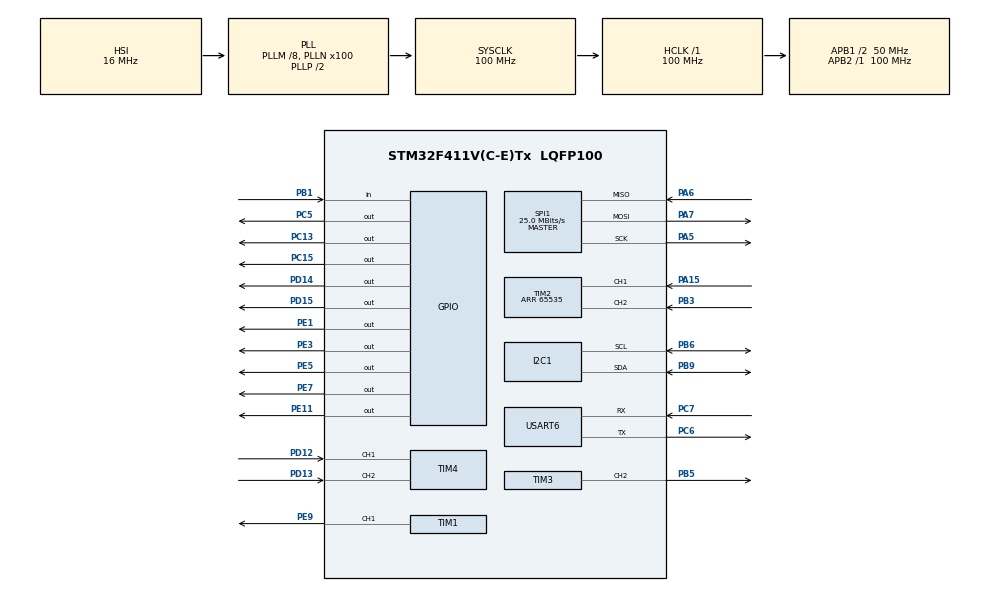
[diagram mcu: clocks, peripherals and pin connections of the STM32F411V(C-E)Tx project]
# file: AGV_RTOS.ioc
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Dma.Request0=USART6_RX
Dma.Request1=USART6_TX
Dma.USART6_RX.0.Direction=DMA_PERIPH_TO_MEMORY
Dma.USART6_RX.0.FIFOMode=DMA_FIFOMODE_DISABLE
Dma.USART6_RX.0.Instance=DMA2_Stream1
Dma.USART6_RX.0.MemDataAlignment=DMA_MDATAALIGN_BYTE
Dma.USART6_RX.0.MemInc=DMA_MINC_ENABLE
Dma.USART6_RX.0.Mode=DMA_CIRCULAR
Dma.USART6_RX.0.PeriphDataAlignment=DMA_PDATAALIGN_BYTE
Dma.USART6_RX.0.PeriphInc=DMA_PINC_DISABLE
Dma.USART6_RX.0.Priority=DMA_PRIORITY_VERY_HIGH
Dma.USART6_TX.1.Direction=DMA_MEMORY_TO_PERIPH
Dma.USART6_TX.1.FIFOMode=DMA_FIFOMODE_DISABLE
Dma.USART6_TX.1.Instance=DMA2_Stream6
Dma.USART6_TX.1.MemDataAlignment=DMA_MDATAALIGN_BYTE
Dma.USART6_TX.1.MemInc=DMA_MINC_ENABLE
Dma.USART6_TX.1.Mode=DMA_NORMAL
Dma.USART6_TX.1.PeriphDataAlignment=DMA_PDATAALIGN_BYTE
Dma.USART6_TX.1.PeriphInc=DMA_PINC_DISABLE
Dma.USART6_TX.1.Priority=DMA_PRIORITY_VERY_HIGH
FREERTOS.Tasks01=MCU_POSE,47,3000,odom_getter,Default,NULL,Static,defaultTaskBuffer,defaultTaskControlBlock;MCU_VEL,48,3000,vel_setter,Default,NULL,Static,MCU_VELBuffer,MCU_VELControlBlock
Mcu.Family=STM32F4
Mcu.Name=STM32F411V(C-E)Tx
Mcu.Package=LQFP100
NVIC.DMA2_Stream1_IRQn=true\:5\:0\:false\:false\:true\:true\:false\:true\:true
NVIC.DMA2_Stream6_IRQn=true\:5\:0\:false\:false\:true\:true\:false\:true\:true
NVIC.PriorityGroup=NVIC_PRIORITYGROUP_4
NVIC.TIM1_BRK_TIM9_IRQn=true\:15\:0\:false\:false\:true\:false\:false\:true\:true
NVIC.TimeBase=TIM1_BRK_TIM9_IRQn
NVIC.TimeBaseIP=TIM9
NVIC.USART6_IRQn=true\:5\:0\:false\:false\:true\:true\:true\:true\:true
PA15.Signal=S_TIM2_CH1_ETR
PA5.Mode=Full_Duplex_Master
PA5.Signal=SPI1_SCK
PA6.Mode=Full_Duplex_Master
PA6.Signal=SPI1_MISO
PA7.Mode=Full_Duplex_Master
PA7.Signal=SPI1_MOSI
PB1.Signal=GPIO_Input
PB3.Signal=S_TIM2_CH2
PB5.Signal=S_TIM3_CH2
PB6.Mode=I2C
PB6.Signal=I2C1_SCL
PB9.Mode=I2C
PB9.Signal=I2C1_SDA
PC13-ANTI_TAMP.Signal=GPIO_Output
PC15-OSC32_OUT.Signal=GPIO_Output
PC5.Signal=GPIO_Output
PC6.Mode=Asynchronous
PC6.Signal=USART6_TX
PC7.Mode=Asynchronous
PC7.Signal=USART6_RX
PD12.Signal=S_TIM4_CH1
PD13.Signal=S_TIM4_CH2
PD14.Signal=GPIO_Output
PD15.Signal=GPIO_Output
PE1.Signal=GPIO_Output
PE11.Signal=GPIO_Output
PE3.Signal=GPIO_Output
PE5.Signal=GPIO_Output
PE7.Signal=GPIO_Output
PE9.Signal=S_TIM1_CH1
PH0\ -\ OSC_IN.Mode=HSE-External-Oscillator
PH0\ -\ OSC_IN.Signal=RCC_OSC_IN
PH1\ -\ OSC_OUT.Mode=HSE-External-Oscillator
PH1\ -\ OSC_OUT.Signal=RCC_OSC_OUT
ProjectManager.HeapSize=0x200
ProjectManager.StackSize=0x400
ProjectManager.TargetToolchain=Makefile
RCC.48MHZClocksFreq_Value=50000000
RCC.AHBFreq_Value=100000000
RCC.APB1CLKDivider=RCC_HCLK_DIV2
RCC.APB1Freq_Value=50000000
RCC.APB1TimFreq_Value=100000000
RCC.APB2Freq_Value=100000000
RCC.APB2TimFreq_Value=100000000
RCC.CortexFreq_Value=100000000
RCC.HCLKFreq_Value=100000000
RCC.HSE_VALUE=25000000
RCC.HSI_VALUE=16000000
RCC.LSE_VALUE=32768
RCC.PLLM=8
RCC.PLLN=100
RCC.SYSCLKFreq_VALUE=100000000
RCC.SYSCLKSource=RCC_SYSCLKSOURCE_PLLCLK
RCC.VCOOutputFreq_Value=200000000
SH.S_TIM1_CH1.0=TIM1_CH1,PWM Generation1 CH1
SH.S_TIM2_CH1_ETR.0=TIM2_CH1,Encoder_Interface
SH.S_TIM2_CH2.0=TIM2_CH2,Encoder_Interface
SH.S_TIM3_CH2.0=TIM3_CH2,PWM Generation2 CH2
SH.S_TIM4_CH1.0=TIM4_CH1,Encoder_Interface
SH.S_TIM4_CH2.0=TIM4_CH2,Encoder_Interface
SPI1.BaudRatePrescaler=SPI_BAUDRATEPRESCALER_4
SPI1.CLKPhase=SPI_PHASE_2EDGE
SPI1.CalculateBaudRate=25.0 MBits/s
SPI1.Direction=SPI_DIRECTION_2LINES
SPI1.Mode=SPI_MODE_MASTER
SPI1.VirtualType=VM_MASTER
TIM1.Channel-PWM\ Generation1\ CH1=TIM_CHANNEL_1
TIM1.Period=99
TIM1.Prescaler=8
TIM2.EncoderMode=TIM_ENCODERMODE_TI12
TIM2.Period=65535
TIM3.Channel-PWM\ Generation2\ CH2=TIM_CHANNEL_2
TIM3.Period=99
TIM3.Prescaler=4
TIM4.EncoderMode=TIM_ENCODERMODE_TI12
USART6.VirtualMode=VM_ASYNC
VP_FREERTOS_VS_CMSIS_V2.Mode=CMSIS_V2
VP_SYS_VS_tim9.Mode=TIM9
board=custom

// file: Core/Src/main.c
/* USER CODE BEGIN Header */
/**
  ******************************************************************************
  * @file           : main.c
  * @brief          : Main program body
  ******************************************************************************
  * @attention
  *
  * Copyright (c) 2023 STMicroelectronics.
  * All rights reserved.
  *
  * This software is licensed under terms that can be found in the LICENSE file
  * in the root directory of this software component.
  * If no LICENSE file comes with this software, it is provided AS-IS.
  *
  ******************************************************************************
  */
/* USER CODE END Header */
#include "main.h"
#include "cmsis_os.h"
#include "dma.h"
#include "i2c.h"
#include "spi.h"
#include "tim.h"
#include "usart.h"
#include "gpio.h"

/* USER CODE BEGIN Includes */

#include "odometry.h"

/* USER CODE END Includes */

void SystemClock_Config(void);
void MX_FREERTOS_Init(void);

/* USER CODE BEGIN 0 */
void platform_init(void) {
	  odometry_init();
}
/* USER CODE END 0 */

int main(void)
{

  /* MCU Configuration--------------------------------------------------------*/

  /* Reset of all peripherals, Initializes the Flash interface and the Systick. */
  HAL_Init();

  /* Configure the system clock */
  SystemClock_Config();

  /* Initialize all configured peripherals */
  MX_GPIO_Init();
  MX_DMA_Init();
  MX_USART6_UART_Init();
  MX_I2C1_Init();
  MX_SPI1_Init();
  MX_TIM1_Init();
  MX_TIM2_Init();
  MX_TIM3_Init();
  MX_TIM4_Init();
  /* USER CODE BEGIN 2 */
  platform_init();
  /* USER CODE END 2 */

  /* Init scheduler */
  osKernelInitialize();  /* Call init function for freertos objects (in freertos.c) */
  MX_FREERTOS_Init();

  /* Start scheduler */
  osKernelStart();
  /* We should never get here as control is now taken by the scheduler */
  /* Infinite loop */
  while (1)
  {

  }
}

void SystemClock_Config(void)
{
  RCC_OscInitTypeDef RCC_OscInitStruct = {0};
  RCC_ClkInitTypeDef RCC_ClkInitStruct = {0};

  /** Configure the main internal regulator output voltage
  */
  __HAL_RCC_PWR_CLK_ENABLE();
  __HAL_PWR_VOLTAGESCALING_CONFIG(PWR_REGULATOR_VOLTAGE_SCALE1);

  /** Initializes the RCC Oscillators according to the specified parameters
  * in the RCC_OscInitTypeDef structure.
  */
  RCC_OscInitStruct.OscillatorType = RCC_OSCILLATORTYPE_HSI;
  RCC_OscInitStruct.HSIState = RCC_HSI_ON;
  RCC_OscInitStruct.HSICalibrationValue = RCC_HSICALIBRATION_DEFAULT;
  RCC_OscInitStruct.PLL.PLLState = RCC_PLL_ON;
  RCC_OscInitStruct.PLL.PLLSource = RCC_PLLSOURCE_HSI;
  RCC_OscInitStruct.PLL.PLLM = 8;
  RCC_OscInitStruct.PLL.PLLN = 100;
  RCC_OscInitStruct.PLL.PLLP = RCC_PLLP_DIV2;
  RCC_OscInitStruct.PLL.PLLQ = 4;
  if (HAL_RCC_OscConfig(&RCC_OscInitStruct) != HAL_OK)
  {
    Error_Handler();
  }

  /** Initializes the CPU, AHB and APB buses clocks
  */
  RCC_ClkInitStruct.ClockType = RCC_CLOCKTYPE_HCLK|RCC_CLOCKTYPE_SYSCLK
                              |RCC_CLOCKTYPE_PCLK1|RCC_CLOCKTYPE_PCLK2;
  RCC_ClkInitStruct.SYSCLKSource = RCC_SYSCLKSOURCE_PLLCLK;
  RCC_ClkInitStruct.AHBCLKDivider = RCC_SYSCLK_DIV1;
  RCC_ClkInitStruct.APB1CLKDivider = RCC_HCLK_DIV2;
  RCC_ClkInitStruct.APB2CLKDivider = RCC_HCLK_DIV1;

  if (HAL_RCC_ClockConfig(&RCC_ClkInitStruct, FLASH_LATENCY_3) != HAL_OK)
  {
    Error_Handler();
  }
}

void HAL_TIM_PeriodElapsedCallback(TIM_HandleTypeDef *htim)
{
  if (htim->Instance == TIM9) {
    HAL_IncTick();
  }
}

void Error_Handler(void)
{
  __disable_irq();
  while (1)
  {
  }
}

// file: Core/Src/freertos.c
/* USER CODE BEGIN Header */
/**
  ******************************************************************************
  * File Name          : freertos.c
  * Description        : Code for freertos applications
  ******************************************************************************
  * @attention
  *
  * Copyright (c) 2023 STMicroelectronics.
  * All rights reserved.
  *
  * This software is licensed under terms that can be found in the LICENSE file
  * in the root directory of this software component.
  * If no LICENSE file comes with this software, it is provided AS-IS.
  *
  ******************************************************************************
  */
/* USER CODE END Header */

#include "FreeRTOS.h"
#include "task.h"
#include "main.h"
#include "cmsis_os.h"

/* USER CODE BEGIN Includes */
#include <rcl/rcl.h>
#include <rcl/error_handling.h>
#include <rclc/rclc.h>
#include <rclc/executor.h>
#include <uxr/client/transport.h>
#include <rmw_microxrcedds_c/config.h>
#include <rmw_microros/rmw_microros.h>
#include "usart.h"
#include <std_msgs/msg/int32.h>
#include <firmware_msgs/msg/mcu_pose.h>

#include <geometry_msgs/msg/twist.h>
#include "odometry.h"
/* USER CODE END Includes */

typedef StaticTask_t osStaticThreadDef_t;

/* USER CODE BEGIN PD */
#define NODE_NAME "firmware_node"

/* USER CODE END PD */

/* USER CODE BEGIN Variables */
rclc_executor_t executor;
rcl_publisher_t publisher;
rclc_support_t support;
rcl_allocator_t allocator;
rcl_node_t node;
rcl_subscription_t subscriber;

firmware_msgs__msg__McuPose odom_msg;
geometry_msgs__msg__Twist   vel_msg;

//osSemaphoreId_t OdomSemHandle;
//const osSemaphoreAttr_t OdomSem_attributes = {
//  .name = "OdomSem"
//};

osMutexId_t odom_mutex;

const osMutexAttr_t Thread_Mutex_attr = {
  "OdomMutex",                          // human readable mutex name
  osMutexRecursive | osMutexPrioInherit,    // attr_bits
  NULL,                                     // memory for control block
  0U                                        // size for control block
};

/* USER CODE END Variables */
/* Definitions for MCU_POSE */
osThreadId_t MCU_POSEHandle;
uint32_t defaultTaskBuffer[ 3000 ];
osStaticThreadDef_t defaultTaskControlBlock;
const osThreadAttr_t MCU_POSE_attributes = {
  .name = "MCU_POSE",
  .cb_mem = &defaultTaskControlBlock,
  .cb_size = sizeof(defaultTaskControlBlock),
  .stack_mem = &defaultTaskBuffer[0],
  .stack_size = sizeof(defaultTaskBuffer),
  .priority = (osPriority_t) osPriorityHigh7,
};
/* Definitions for MCU_VEL */
osThreadId_t MCU_VELHandle;
uint32_t MCU_VELBuffer[ 3000 ];
osStaticThreadDef_t MCU_VELControlBlock;
const osThreadAttr_t MCU_VEL_attributes = {
  .name = "MCU_VEL",
  .cb_mem = &MCU_VELControlBlock,
  .cb_size = sizeof(MCU_VELControlBlock),
  .stack_mem = &MCU_VELBuffer[0],
  .stack_size = sizeof(MCU_VELBuffer),
  .priority = (osPriority_t) osPriorityRealtime,
};
/* Definitions for UPDATE_IMU_VEL */
osThreadId_t UPDATE_IMU_VELHandle;
uint32_t UPDATE_IMU_VELBuffer[ 256 ];
osStaticThreadDef_t UPDATE_IMU_VELControlBlock;
const osThreadAttr_t UPDATE_IMU_VEL_attributes = {
  .name = "UPDATE_IMU_VEL",
  .cb_mem = &UPDATE_IMU_VELControlBlock,
  .cb_size = sizeof(UPDATE_IMU_VELControlBlock),
  .stack_mem = &UPDATE_IMU_VELBuffer[0],
  .stack_size = sizeof(UPDATE_IMU_VELBuffer),
  .priority = (osPriority_t) osPriorityNormal,
};

/* USER CODE BEGIN FunctionPrototypes */
bool cubemx_transport_open(struct uxrCustomTransport * transport);
bool cubemx_transport_close(struct uxrCustomTransport * transport);
size_t cubemx_transport_write(struct uxrCustomTransport* transport, const uint8_t * buf, size_t len, uint8_t * err);
size_t cubemx_transport_read(struct uxrCustomTransport* transport, uint8_t* buf, size_t len, int timeout, uint8_t* err);

void * microros_allocate(size_t size, void * state);
void microros_deallocate(void * pointer, void * state);
void * microros_reallocate(void * pointer, size_t size, void * state);
void * microros_zero_allocate(size_t number_of_elements, size_t size_of_element, void * state);

void vel_setter_callback(const void *msgin) {
	const geometry_msgs__msg__Twist *cmdVel = (const geometry_msgs__msg__Twist *) msgin;

	update_vel_wheels(cmdVel);
}
void setup_node(void);
void destroy_node(void);
/* USER CODE END FunctionPrototypes */

void odom_getter(void *argument);
void vel_setter(void *argument);
void update_imu_vel(void *argument);

void MX_FREERTOS_Init(void); /* (MISRA C 2004 rule 8.1) */

void MX_FREERTOS_Init(void) {
  /* USER CODE BEGIN Init */
//	odom_mutex = osMutexNew(&Thread_Mutex_attr);

//	 OdomSemHandle = osSemaphoreNew(2, 2, &OdomSem_attributes);

	odom_mutex = osMutexNew(&Thread_Mutex_attr);
  /* USER CODE END Init */

  /* Create the thread(s) */
  /* creation of MCU_POSE */
  MCU_POSEHandle = osThreadNew(odom_getter, NULL, &MCU_POSE_attributes);
  /* creation of MCU_VEL */
  MCU_VELHandle = osThreadNew(vel_setter, NULL, &MCU_VEL_attributes);
  /* creation of UPDATE_IMU_VEL */
  UPDATE_IMU_VELHandle = osThreadNew(update_imu_vel, NULL, &UPDATE_IMU_VEL_attributes);

}

void odom_getter(void *argument)
{

  /* USER CODE BEGIN odom_getter */
  /* Infinite loop */
  for(;;)
  {
	if (osMutexAcquire(odom_mutex, osWaitForever) == osOK) {
		get_odom_msg(&odom_msg);
		rcl_publish(&publisher, &odom_msg, NULL);
		osMutexRelease(odom_mutex);
	}
    osDelay(20);
  }
  /* USER CODE END odom_getter */
}

void vel_setter(void *argument)
{
	setup_node();
  /* USER CODE BEGIN vel_setter */

  /* Infinite loop */
  for(;;)
  {
	rclc_executor_spin(&executor);
    osDelay(10);
  }
  /* USER CODE END vel_setter */
}

/* USER CODE BEGIN Header_update_imu_vel */
/**
* @brief Function implementing the UPDATE_IMU_VEL thread.
* @param argument: Not used
* @retval None;
*/
/* USER CODE END Header_update_imu_vel */
void update_imu_vel(void *argument)
{
  /* USER CODE BEGIN update_imu_vel */
  /* Infinite loop */
  for(;;)
  {
//	if(HAL_GPIO_ReadPin(GPIOD, GPIO_PIN_15) == 0) {
//		HAL_GPIO_WritePin(GPIOD, GPIO_PIN_15, GPIO_PIN_SET);
//	} else {
//		HAL_GPIO_WritePin(GPIOD, GPIO_PIN_15, GPIO_PIN_RESET);
//	}
//	set_vel_wheels();
	update_yaw();

	if (osMutexAcquire(odom_mutex, osWaitForever) == osOK) {
		update_step();
		osMutexRelease(odom_mutex);
	}
  }
  /* USER CODE END update_imu_vel */
}

/* USER CODE BEGIN Application */
void setup_node() {
	  rmw_uros_set_custom_transport(
	    true,
	    (void *) &huart6,
	    cubemx_transport_open,
	    cubemx_transport_close,
	    cubemx_transport_write,
	    cubemx_transport_read);

	  rcl_allocator_t freeRTOS_allocator = rcutils_get_zero_initialized_allocator();
	  freeRTOS_allocator.allocate = microros_allocate;
	  freeRTOS_allocator.deallocate = microros_deallocate;
	  freeRTOS_allocator.reallocate = microros_reallocate;
	  freeRTOS_allocator.zero_allocate =  microros_zero_allocate;

	  if (!rcutils_set_default_allocator(&freeRTOS_allocator)) {
	      printf("Error on default allocators (line %d)\n", __LINE__);
	  }

	  // micro-ROS app
	  allocator = rcl_get_default_allocator();

	  //create init_options
	  rclc_support_init(&support, 0, NULL, &allocator);

	  // create node
	  rclc_node_init_default(&node, NODE_NAME, "", &support);

	  // create publisher
	  rclc_publisher_init_best_effort(
	    &publisher,
	    &node,
	    ROSIDL_GET_MSG_TYPE_SUPPORT(firmware_msgs, msg, McuPose),
	    "mcu_pose");

	  rclc_subscription_init_best_effort(
	  		&subscriber,
			&node,
			ROSIDL_GET_MSG_TYPE_SUPPORT(geometry_msgs, msg, Twist),
	  		"mcu_vel"
		);

	  rclc_executor_init(&executor, &support.context, 1, &allocator);
	  rclc_executor_add_subscription(
			  &executor,
			  &subscriber,
			  &vel_msg,
	    	  &vel_setter_callback,
			  ON_NEW_DATA);

}

void destroy_node()
{
  rmw_context_t * rmw_context = rcl_context_get_rmw_context(&support.context);
  (void) rmw_uros_set_context_entity_destroy_session_timeout(rmw_context, 0);

  rcl_publisher_fini(&publisher, &node);
  rclc_executor_fini(&executor);
  rcl_node_fini(&node);
  rclc_support_fini(&support);
}

void error_loop() {
  while (1) {

  }
}

/* USER CODE END Application */
